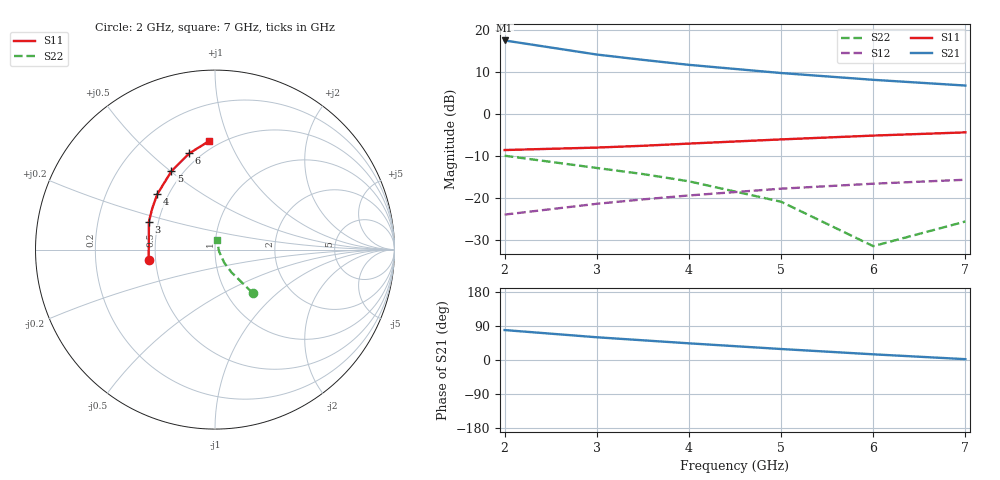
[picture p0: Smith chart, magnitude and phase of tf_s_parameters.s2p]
# GHZ S MA R 50
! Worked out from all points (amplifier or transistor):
!   7 points, 2 GHz to 7 GHz, reference 50 ohm
!   highest |S21| = 17.5 dB at 2 GHz (marker M1)
!   |S21| within 3 dB of that: start of sweep to 2.897 GHz
!   unconditionally stable (mu >= 1): 2.633 GHz to end of sweep
!   at 3 GHz: K = 1.04, MAG = 16.5 dB, |S12| = -21.3 dB
!   at 4 GHz: K = 1.08, MAG = 13.8 dB, |S12| = -19.3 dB
!   at 7 GHz: K = 1.08, MAG = 9.4 dB, |S12| = -15.6 dB
!   lowest NFmin = 2.35 dB at 3.5 GHz
!   S11 on the Smith chart (normalised r, x): 2 GHz: 0.46, -0.06; 3 GHz: 0.44, +0.16; 4 GHz: 0.44, +0.34; 5 GHz: 0.43, +0.50; 6 GHz: 0.43, +0.67; 7 GHz: 0.44, +0.85
2  0.374 -171.0  7.48 79.0  0.064 47.0  0.32 -49.0
3  0.4 -203.0  5.09 60.0  0.086 42.0  0.229 -51.0
3.5  0.42 -214.0  4.4 52.0  0.097 39.0  0.194 -52.0
4  0.446 -224.0  3.84 44.0  0.108 35.0  0.159 -54.0
5  0.5 -241.0  3.07 29.0  0.13 26.0  0.091 -55.0
6  0.555 -255.0  2.55 15.0  0.149 17.0  0.027 -29.0
7  0.606 -267.0  2.18 2.2  0.166 8.4  0.053 79.0
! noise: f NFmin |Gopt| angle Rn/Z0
3.5  2.353  0.2918  223.8  0.2069
